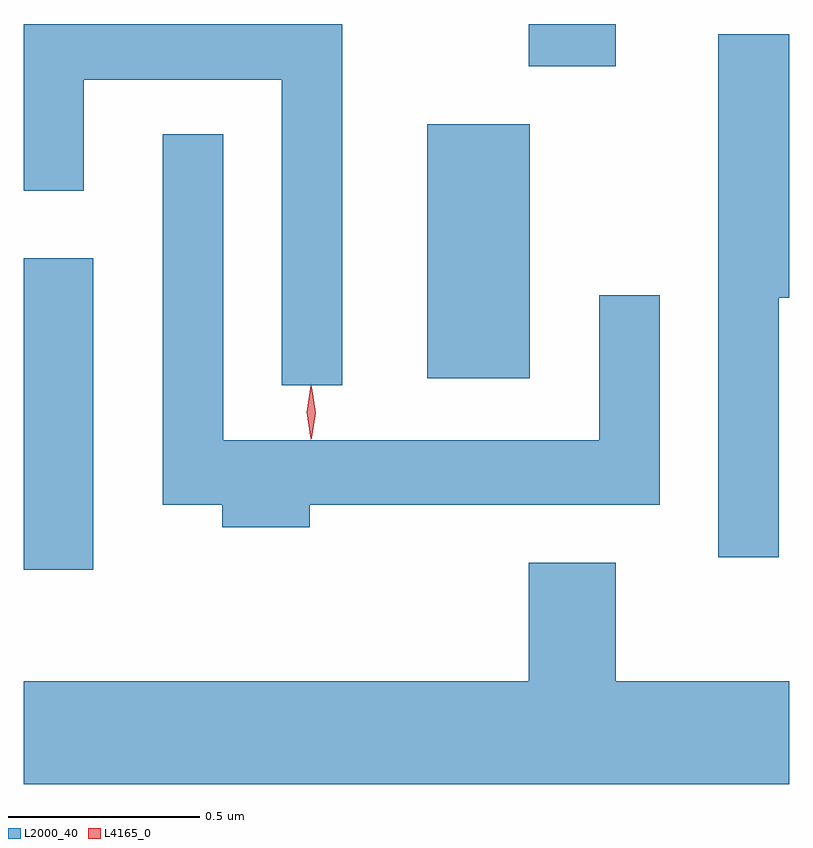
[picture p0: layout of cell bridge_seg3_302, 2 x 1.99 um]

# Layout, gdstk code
import gdstk
lib = gdstk.Library(unit=1e-6, precision=1e-09)
def R(c, l, rs):  # rectangles x0, y0, x1, y1
    for r in rs: c.add(gdstk.rectangle(r[:2], r[2:], *l))
def P(c, l, *ps):  # polygons
    for p in ps: c.add(gdstk.Polygon(p, *l))
L2000_40 = (2000, 40)
L4165_0 = (4165, 0)

bridge_seg3_302 = lib.new_cell('bridge_seg3_302')
R(bridge_seg3_302, L2000_40, [(1070.752,1126.576,1070.934,1127.389), (1071.806,1127.076,1072.074,1127.739), (1072.071,1127.891,1072.299,1128.001)])
P(bridge_seg3_302, L2000_40, [(1071.584,1128.001),(1070.752,1128.001),(1070.752,1127.566),(1070.909,1127.566),(1070.909,1127.856),(1071.426,1127.856),(1071.426,1127.058),(1071.584,1127.058)],
  [(1072.724,1127.286),(1072.752,1127.286),(1072.752,1127.974),(1072.566,1127.974),(1072.566,1126.608),(1072.724,1126.608)],
  [(1071.499,1126.746),(1072.414,1126.746),(1072.414,1127.293),(1072.256,1127.293),(1072.256,1126.914),(1071.274,1126.914),(1071.274,1127.713),(1071.116,1127.713),(1071.116,1126.746),(1071.271,1126.746),(1071.271,1126.686),(1071.499,1126.686)],
  [(1072.752,1126.284),(1072.299,1126.284),(1072.299,1126.594),(1072.071,1126.594),(1072.071,1126.284),(1070.752,1126.284),(1070.752,1126.016),(1072.752,1126.016)])
P(bridge_seg3_302, L4165_0, [(1071.502,1126.917),(1071.502,1126.918),(1071.492,1126.987),(1071.502,1127.056),(1071.502,1127.056),(1071.503,1127.056),(1071.512,1126.987),(1071.503,1126.918)],
  [(1071.505,1126.919),(1071.504,1126.92),(1071.495,1126.986),(1071.504,1127.052),(1071.505,1127.053),(1071.505,1127.052),(1071.515,1126.986),(1071.505,1126.92)])

lib.write_gds('bridge_seg3_302.gds')
